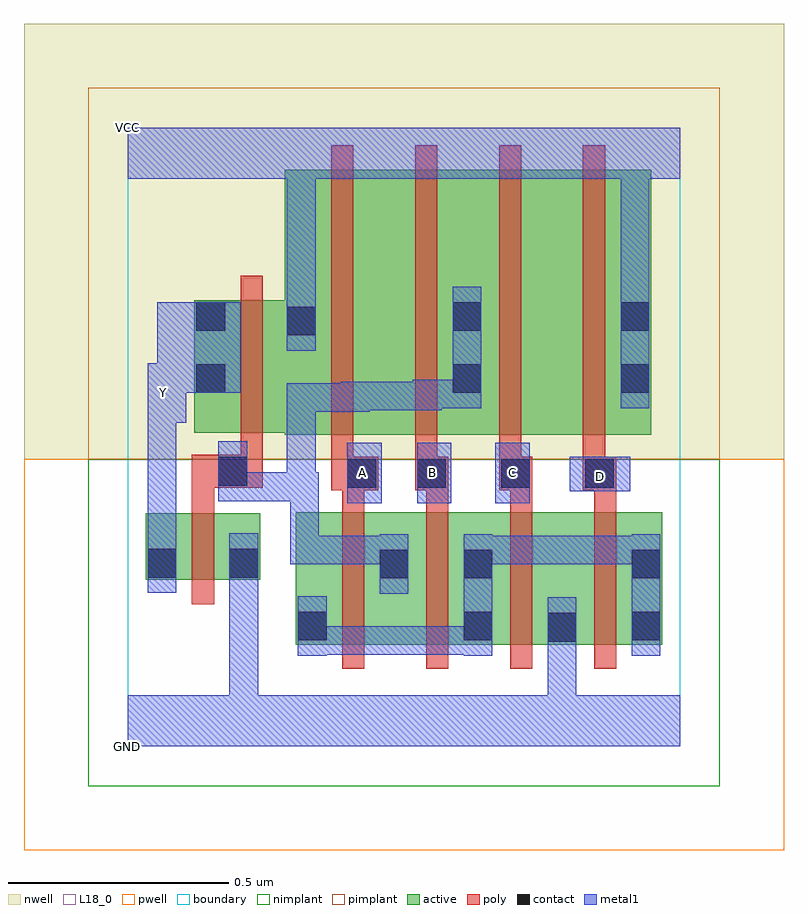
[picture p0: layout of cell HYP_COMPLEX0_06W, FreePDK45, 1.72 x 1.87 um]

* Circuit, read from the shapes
.subckt HYP_COMPLEX0_06W A B C D GND VCC Y
M1 GND n1 Y VSUBS nfet w=0.15u l=0.05u
M2 n1 A n2 VSUBS nfet w=0.3u l=0.05u
M3 n2 B n1 VSUBS nfet w=0.3u l=0.05u
M4 GND C n2 VSUBS nfet w=0.3u l=0.05u
M5 n2 D GND VSUBS nfet w=0.3u l=0.05u
M6 VCC n1 Y n3 pfet w=0.3u l=0.05u
M7 n4 A VCC n3 pfet w=0.6u l=0.05u
M8 n1 B n4 n3 pfet w=0.6u l=0.05u
M9 n5 C n1 n3 pfet w=0.6u l=0.05u
M10 VCC D n5 n3 pfet w=0.6u l=0.05u
.ends

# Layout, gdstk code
import gdstk
lib = gdstk.Library(unit=1e-6, precision=1e-09)
def R(c, l, rs):  # rectangles x0, y0, x1, y1
    for r in rs: c.add(gdstk.rectangle(r[:2], r[2:], *l))
def A(c, l, x, y, w, h, nx, ny, dx, dy):  # array of equal rectangles
    R(c, l, [(x+i*dx, y+j*dy, x+i*dx+w, y+j*dy+h) for i in range(nx) for j in range(ny)])
active = (1, 0)
pwell = (2, 0)
nwell = (3, 0)
nimplant = (4, 0)
pimplant = (5, 0)
poly = (9, 0)
contact = (10, 0)
metal1 = (11, 0)
L18_0 = (18, 0)
boundary = (235, 0)

hyp_complex0_06w = lib.new_cell('HYP_COMPLEX0_06W')
A(hyp_complex0_06w, active, 0.565, 0.23, 0.265, 0.3, 3, 1, 0.19, 0)
R(hyp_complex0_06w, active, [(0.38,0.23,0.64,0.53), (0.945,0.23,1.02,0.397), (0.755,0.232,0.83,0.53), (0.38,0.235,0.455,0.53), (1.135,0.235,1.21,0.53), (0.565,0.295,0.64,0.45), (0.04,0.377,0.115,0.527), (0.04,0.377,0.3,0.527), (0.225,0.377,0.3,0.527), (0.355,0.705,0.58,1.305), (0.58,0.705,0.805,1.305), (0.73,0.705,0.96,1.305), (0.96,0.705,1.185,1.305), (1.11,0.705,1.185,1.305), (0.73,0.707,0.805,1.2), (0.15,0.71,0.43,1.01), (0.15,0.71,0.225,1.01), (0.355,0.792,0.43,1.305)])
R(hyp_complex0_06w, pwell, [(-0.235,-0.235,1.485,0.65)])
R(hyp_complex0_06w, nwell, [(-0.235,0.65,1.485,1.635)])
R(hyp_complex0_06w, nimplant, [(-0.09,-0.09,1.34,0.65)])
R(hyp_complex0_06w, pimplant, [(-0.09,0.65,1.34,1.49)])
A(hyp_complex0_06w, poly, 0.485, 0.175, 0.05, 0.41, 4, 1, 0.19, 0)
A(hyp_complex0_06w, poly, 0.485, 0.535, 0.05, 0.095, 4, 1, 0.19, 0)
A(hyp_complex0_06w, poly, 0.65, 0.58, 0.075, 0.075, 3, 1, 0.19, 0)
A(hyp_complex0_06w, poly, 0.46, 0.605, 0.05, 0.095, 4, 1, 0.19, 0)
A(hyp_complex0_06w, poly, 0.46, 0.65, 0.05, 0.71, 4, 1, 0.19, 0)
R(hyp_complex0_06w, poly, [(0.145,0.322,0.195,0.582), (0.145,0.532,0.195,0.635), (0.46,0.58,0.567,0.655), (0.145,0.585,0.305,0.66), (0.255,0.61,0.305,0.705), (0.255,0.655,0.305,1.065)])
A(hyp_complex0_06w, contact, 0.655, 0.585, 0.065, 0.065, 3, 1, 0.19, 0)
R(hyp_complex0_06w, contact, [(0.95,0.237,1.015,0.302), (0.385,0.24,0.45,0.305), (0.76,0.24,0.825,0.305), (1.14,0.24,1.205,0.305), (0.57,0.38,0.635,0.445), (0.76,0.38,0.825,0.445), (1.14,0.38,1.205,0.445), (0.045,0.382,0.11,0.447), (0.23,0.382,0.295,0.447), (0.497,0.585,0.562,0.65), (0.205,0.59,0.27,0.655), (0.155,0.8,0.22,0.865), (0.735,0.8,0.8,0.865), (1.115,0.8,1.18,0.865), (0.36,0.93,0.425,0.995), (0.155,0.94,0.22,1.005), (0.735,0.94,0.8,1.005), (1.115,0.94,1.18,1.005)])
R(hyp_complex0_06w, metal1, [(0,0,1.25,0.115), (0.23,0.05,0.295,0.115), (0.23,0.05,0.295,0.115), (0.23,0.05,0.295,0.115), (0.23,0.05,0.295,0.115), (0.23,0.05,0.295,0.412), (0.95,0.05,1.015,0.267), (0.95,0.202,1.015,0.267), (0.95,0.202,1.015,0.267), (0.95,0.202,1.015,0.267), (0.95,0.202,1.015,0.267), (0.95,0.202,1.015,0.337), (0.385,0.205,0.45,0.34), (0.76,0.205,0.825,0.48), (1.14,0.205,1.205,0.48), (0.385,0.207,0.49,0.272), (0.425,0.207,0.49,0.272), (0.425,0.207,0.662,0.272), (0.597,0.207,0.662,0.272), (0.597,0.207,0.75,0.272), (0.685,0.207,0.75,0.272), (0.685,0.207,0.825,0.272), (0.57,0.345,0.635,0.48), (0.045,0.347,0.11,0.482), (0.23,0.347,0.295,0.412), (0.23,0.347,0.295,0.412), (0.23,0.347,0.295,0.482), (0.367,0.412,0.432,0.477), (0.367,0.412,0.445,0.477), (0.367,0.412,0.432,0.62), (0.38,0.412,0.445,0.477), (0.38,0.412,0.635,0.477), (0.76,0.412,0.825,0.477), (0.76,0.412,0.9,0.477), (0.76,0.412,0.825,0.48), (0.835,0.412,0.9,0.477), (0.835,0.412,1.042,0.477), (0.977,0.412,1.205,0.477), (0.977,0.412,1.042,0.477), (0.977,0.412,1.042,0.477), (0.977,0.412,1.042,0.477), (0.045,0.417,0.11,0.797), (0.497,0.55,0.575,0.687), (0.655,0.55,0.732,0.687), (0.832,0.55,0.91,0.687), (0.205,0.555,0.27,0.62), (0.205,0.555,0.27,0.62), (0.205,0.555,0.27,0.69), (0.205,0.555,0.425,0.62), (0.36,0.555,0.425,0.822), (0.36,0.555,0.432,0.62), (1,0.577,1.137,0.655), (0.045,0.732,0.132,0.867), (0.36,0.757,0.425,0.822), (0.36,0.757,0.547,0.822), (0.482,0.757,0.547,0.825), (0.482,0.76,0.627,0.825), (0.562,0.76,0.627,0.825), (0.562,0.76,0.71,0.825), (0.645,0.76,0.71,0.83), (0.645,0.765,0.8,0.83), (0.735,0.765,0.8,1.04), (1.115,0.765,1.18,1.04), (0.067,0.8,0.132,0.865), (0.067,0.8,0.255,1.005), (0.36,0.895,0.425,1.03), (0.36,0.965,0.425,1.35), (1.115,0.975,1.18,1.35), (0,1.285,1.25,1.4)])
R(hyp_complex0_06w, L18_0, [(0,0,1.25,0.115), (0.23,0.05,0.295,0.115), (0.23,0.05,0.295,0.115), (0.23,0.05,0.295,0.115), (0.23,0.05,0.295,0.115), (0.23,0.05,0.295,0.412), (0.95,0.05,1.015,0.267), (0.95,0.202,1.015,0.337), (0.95,0.202,1.015,0.267), (0.95,0.202,1.015,0.267), (0.95,0.202,1.015,0.267), (0.95,0.202,1.015,0.267), (0.045,0.347,0.11,0.482), (0.23,0.347,0.295,0.482), (0.23,0.347,0.295,0.412), (0.23,0.347,0.295,0.412), (0.045,0.417,0.11,0.797), (0.497,0.55,0.575,0.687), (0.655,0.55,0.732,0.687), (0.832,0.55,0.91,0.687), (1,0.577,1.137,0.655), (1.037,0.577,1.102,0.642), (0.497,0.587,0.562,0.652), (0.657,0.587,0.722,0.652), (0.837,0.587,0.902,0.652), (0.045,0.732,0.132,0.867), (1.115,0.765,1.18,1.04), (0.047,0.767,0.112,0.832), (0.067,0.8,0.255,1.005), (0.067,0.8,0.132,0.865), (0.36,0.895,0.425,1.03), (0.36,0.965,0.425,1.35), (1.115,0.975,1.18,1.35), (0,1.285,1.25,1.4)])
R(hyp_complex0_06w, boundary, [(0,0,1.25,1.4)])
hyp_complex0_06w.add(gdstk.Label('A', (0.53,0.62), layer=11, texttype=0))
hyp_complex0_06w.add(gdstk.Label('B', (0.69,0.62), layer=11, texttype=0))
hyp_complex0_06w.add(gdstk.Label('C', (0.87,0.62), layer=11, texttype=0))
hyp_complex0_06w.add(gdstk.Label('D', (1.07,0.61), layer=11, texttype=0))
hyp_complex0_06w.add(gdstk.Label('Y', (0.08,0.8), layer=11, texttype=0))
hyp_complex0_06w.add(gdstk.Label('VCC', (0,1.4), layer=11, texttype=0))
hyp_complex0_06w.add(gdstk.Label('GND', (0,0), layer=11, texttype=0))

lib.write_gds('HYP_COMPLEX0_06W.gds')
